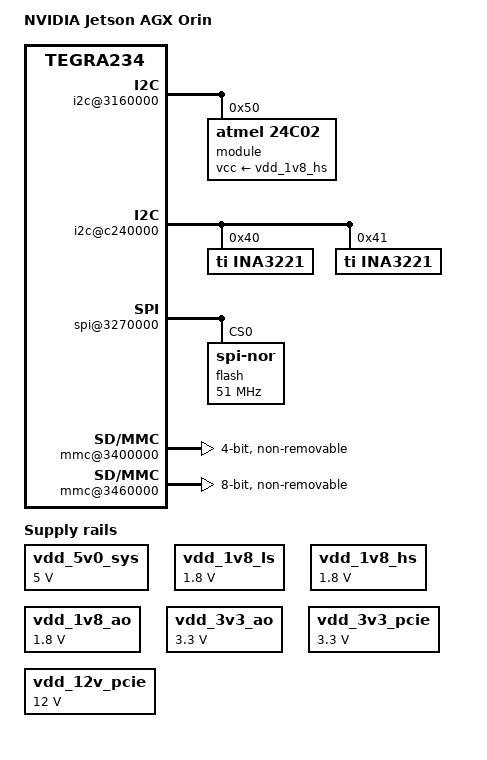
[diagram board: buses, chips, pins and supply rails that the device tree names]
// SPDX-License-Identifier: GPL-2.0

#include "tegra234-p3701.dtsi"

/ {
	model = "NVIDIA Jetson AGX Orin";
	compatible = "nvidia,p3701-0000", "nvidia,tegra234";

	bus@0 {
		i2c@3160000 {
			status = "okay";

			eeprom@50 {
				compatible = "atmel,24c02";
				reg = <0x50>;

				label = "module";
				vcc-supply = <&vdd_1v8_hs>;
				address-width = <8>;
				pagesize = <8>;
				size = <256>;
				read-only;
			};
		};
		i2c@c240000 {
			ina3221@40 {
				compatible = "ti,ina3221";
				reg = <0x40>;
				#address-cells = <1>;
				#size-cells = <0>;
				channel@0 {
					reg = <0x0>;
					label = "VDD_GPU_SOC";
					shunt-resistor-micro-ohms = <2000>;
				};
				channel@1 {
					reg = <0x1>;
					label = "VDD_CPU_CV";
					shunt-resistor-micro-ohms = <2000>;
				};
				channel@2 {
					reg = <0x2>;
					label = "VIN_SYS_5V0";
					shunt-resistor-micro-ohms = <2000>;
					ti,summation-disable;
				};
			};

			ina3221@41 {
				compatible = "ti,ina3221";
				reg = <0x41>;
				#address-cells = <1>;
				#size-cells = <0>;
				channel@0 {
					reg = <0x0>;
					status = "disabled";
				};
				channel@1 {
					reg = <0x1>;
					label = "VDDQ_VDD2_1V8AO";
					shunt-resistor-micro-ohms = <2000>;
				};
				channel@2 {
					reg = <0x2>;
					status = "disabled";
				};
			};
		};
		spi@3270000 {
			status = "okay";

			flash@0 {
				compatible = "jedec,spi-nor";
				reg = <0>;
				spi-max-frequency = <51000000>;
				spi-tx-bus-width = <1>;
				spi-rx-bus-width = <1>;
			};
		};

		mmc@3400000 {
			status = "okay";
			bus-width = <4>;
			//cd-gpios = <&gpio TEGRA234_MAIN_GPIO(G, 7) GPIO_ACTIVE_LOW>;
			non-removable;
			disable-wp;
		};

		mmc@3460000 {
			status = "okay";
			bus-width = <8>;
			non-removable;
		};

		padctl@3520000 {
			vclamp-usb-supply = <&vdd_1v8_ao>;
			avdd-usb-supply = <&vdd_3v3_ao>;

			ports {
				usb2-0 {
				//	vbus-supply = <&vdd_5v0_sys>;
				};

				usb2-1 {
					vbus-supply = <&vdd_5v0_sys>;
				};

				usb2-2 {
					vbus-supply = <&vdd_5v0_sys>;
				};

				usb2-3 {
					vbus-supply = <&vdd_5v0_sys>;
				};
			};
		};

		rtc@c2a0000 {
			status = "okay";
		};

		pmc@c360000 {
			nvidia,invert-interrupt;
		};
	};

	vdd_5v0_sys: regulator-vdd-5v0-sys {
		compatible = "regulator-fixed";
		regulator-name = "VIN_SYS_5V0";
		regulator-min-microvolt = <5000000>;
		regulator-max-microvolt = <5000000>;
		regulator-always-on;
		regulator-boot-on;
	};

	vdd_1v8_ls: regulator-vdd-1v8-ls {
		compatible = "regulator-fixed";
		regulator-name = "VDD_1V8_LS";
		regulator-min-microvolt = <1800000>;
		regulator-max-microvolt = <1800000>;
		regulator-always-on;
	};

	vdd_1v8_hs: regulator-vdd-1v8-hs {
		compatible = "regulator-fixed";
		regulator-name = "VDD_1V8_HS";
		regulator-min-microvolt = <1800000>;
		regulator-max-microvolt = <1800000>;
		regulator-always-on;
	};

	vdd_1v8_ao: regulator-vdd-1v8-ao {
		compatible = "regulator-fixed";
		regulator-name = "VDD_1V8_AO";
		regulator-min-microvolt = <1800000>;
		regulator-max-microvolt = <1800000>;
		regulator-always-on;
	};

	vdd_3v3_ao: regulator-vdd-3v3-ao {
		compatible = "regulator-fixed";
		regulator-name = "VDD_3V3_AO";
		regulator-min-microvolt = <3300000>;
		regulator-max-microvolt = <3300000>;
		regulator-always-on;
	};

	vdd_3v3_pcie: regulator-vdd-3v3-pcie {
		compatible = "regulator-fixed";
		regulator-name = "VDD_3V3_PCIE";
		regulator-min-microvolt = <3300000>;
		regulator-max-microvolt = <3300000>;
		//gpio = <&gpio TEGRA234_MAIN_GPIO(H, 4) GPIO_ACTIVE_HIGH>;
		regulator-boot-on;
		enable-active-high;
	};

	vdd_12v_pcie: regulator-vdd-12v-pcie {
		compatible = "regulator-fixed";
		regulator-name = "VDD_12V_PCIE";
		regulator-min-microvolt = <12000000>;
		regulator-max-microvolt = <12000000>;
		//gpio = <&gpio TEGRA234_MAIN_GPIO(A, 1) GPIO_ACTIVE_LOW>;
		regulator-boot-on;
	};

	thermal-zones {
		tj-thermal {
			polling-delay = <1000>;
			polling-delay-passive = <1000>;
			status = "okay";

			trips {
				tj_trip_active0: active-0 {
					temperature = <75000>;
					hysteresis = <4000>;
					type = "active";
				};

				tj_trip_active1: active-1 {
					temperature = <95000>;
					hysteresis = <4000>;
					type = "active";
				};
			};
		};
	};
};
